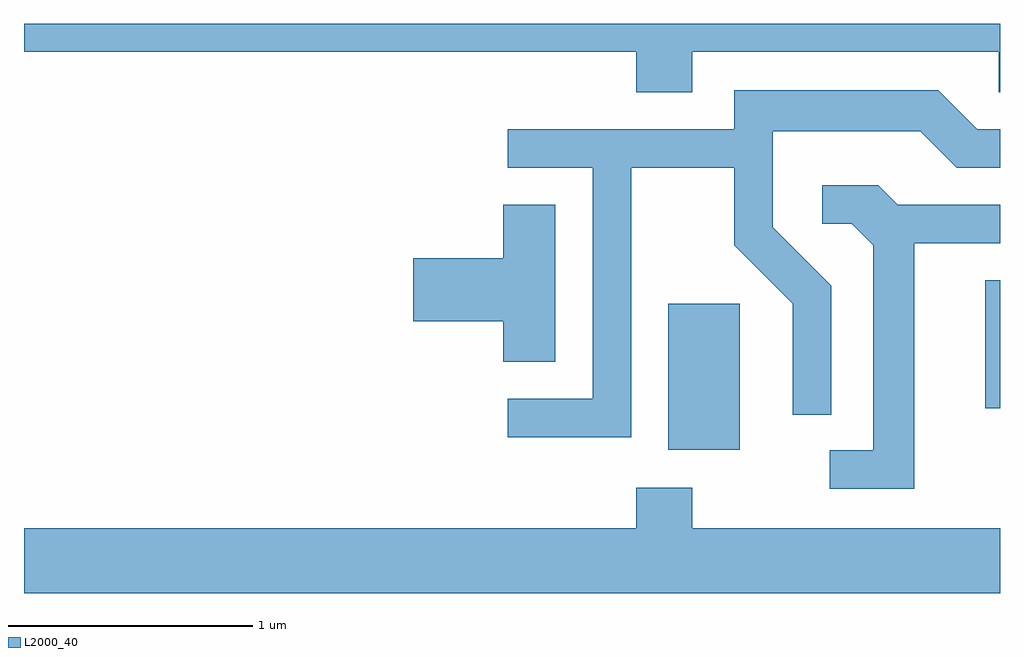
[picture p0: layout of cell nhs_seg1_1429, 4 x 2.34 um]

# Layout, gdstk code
import gdstk
lib = gdstk.Library(unit=1e-6, precision=1e-09)
def R(c, l, rs):  # rectangles x0, y0, x1, y1
    for r in rs: c.add(gdstk.rectangle(r[:2], r[2:], *l))
def P(c, l, *ps):  # polygons
    for p in ps: c.add(gdstk.Polygon(p, *l))
L2000_40 = (2000, 40)

nhs_seg1_1429 = lib.new_cell('nhs_seg1_1429')
R(nhs_seg1_1429, L2000_40, [(232.251,877.966,232.544,878.564), (233.551,878.136,233.611,878.659)])
P(nhs_seg1_1429, L2000_40, [(232.349,879.596),(233.606,879.596),(233.606,879.431),(233.611,879.431),(233.611,879.712),(229.611,879.712),(229.611,879.596),(232.121,879.596),(232.121,879.431),(232.349,879.431)],
  [(232.099,879.121),(232.521,879.121),(232.521,878.804),(232.761,878.564),(232.761,878.108),(232.919,878.108),(232.919,878.637),(232.679,878.877),(232.679,879.271),(233.284,879.271),(233.434,879.121),(233.611,879.121),(233.611,879.279),(233.517,879.279),(233.357,879.439),(232.521,879.439),(232.521,879.279),(231.593,879.279),(231.593,879.121),(231.941,879.121),(231.941,878.174),(231.593,878.174),(231.593,878.016),(232.099,878.016)],
  [(233.259,878.811),(233.611,878.811),(233.611,878.969),(233.192,878.969),(233.112,879.049),(232.883,879.049),(232.883,878.891),(233.004,878.891),(233.091,878.804),(233.091,877.964),(232.913,877.964),(232.913,877.806),(233.259,877.806)],
  [(231.789,878.969),(231.576,878.969),(231.576,878.749),(231.206,878.749),(231.206,878.491),(231.576,878.491),(231.576,878.326),(231.789,878.326)],
  [(233.611,877.644),(232.349,877.644),(232.349,877.809),(232.121,877.809),(232.121,877.644),(229.611,877.644),(229.611,877.376),(233.611,877.376)])

lib.write_gds('nhs_seg1_1429.gds')
